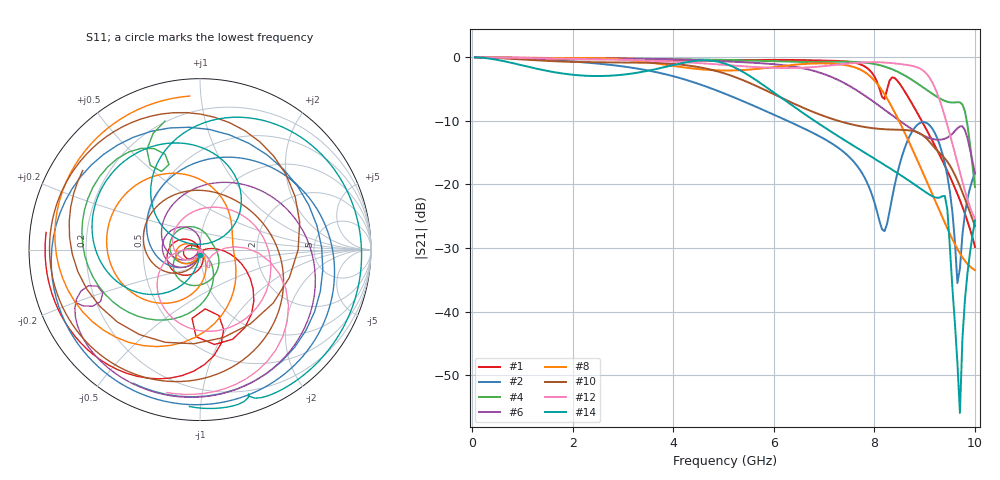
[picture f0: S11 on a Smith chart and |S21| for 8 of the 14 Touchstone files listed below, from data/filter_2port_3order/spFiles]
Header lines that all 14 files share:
! freq	dB(S11)	phase(S11)	dB(S12)	phase(S12)
!  dB(S21)	phase(S21)	dB(S22)	phase(S22)
!S-par simulation data
#  GHz  S  DB  R 50
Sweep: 50 MHz to 10 GHz
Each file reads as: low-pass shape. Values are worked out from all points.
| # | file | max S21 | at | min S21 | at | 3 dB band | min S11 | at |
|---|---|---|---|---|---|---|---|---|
| 1 | randomGDSSteppedImpFilter_Type=butter_order=3_pixelSize=18_sim=5238.s2p | 0.00 dB | 50 MHz | -29.8 dB | 10 GHz | 50 MHz-7.95 GHz | -53.3 dB | 2.7 GHz |
| 2 | randomGDSSteppedImpFilter_Type=butter_order=3_pixelSize=18_sim=5241.s2p | -0.01 dB | 50 MHz | -35.5 dB | 9.65 GHz | 50 MHz-4 GHz | -40.2 dB | 50 MHz |
| 3 | randomGDSSteppedImpFilter_Type=butter_order=3_pixelSize=18_sim=5242.s2p | -0.01 dB | 50 MHz | -25.6 dB | 10 GHz | 50 MHz-7.25 GHz | -35.4 dB | 3.55 GHz |
| 4 | randomGDSSteppedImpFilter_Type=butter_order=3_pixelSize=18_sim=5245.s2p | -0.01 dB | 50 MHz | -20.4 dB | 10 GHz | 50 MHz-8.6 GHz | -42.1 dB | 50 MHz |
| 5 | randomGDSSteppedImpFilter_Type=butter_order=3_pixelSize=18_sim=5247.s2p | -0.01 dB | 50 MHz | -38.8 dB | 8.55 GHz | 50 MHz-6.85 GHz | -36.5 dB | 4.3 GHz |
| 6 | randomGDSSteppedImpFilter_Type=butter_order=3_pixelSize=18_sim=5248.s2p | -0.01 dB | 50 MHz | -18.3 dB | 10 GHz | 50 MHz-7.1 GHz | -47.4 dB | 3.55 GHz |
| 7 | randomGDSSteppedImpFilter_Type=butter_order=3_pixelSize=18_sim=5249.s2p | -0.01 dB | 50 MHz | -18.3 dB | 10 GHz | 50 MHz-6.85 GHz | -54.4 dB | 3.8 GHz |
| 8 | randomGDSSteppedImpFilter_Type=butter_order=3_pixelSize=18_sim=5256.s2p | -0.01 dB | 50 MHz | -33.5 dB | 10 GHz | 50 MHz-7.9 GHz | -51.8 dB | 2.4 GHz |
| 9 | randomGDSSteppedImpFilter_Type=butter_order=3_pixelSize=18_sim=5262.s2p | -0.01 dB | 50 MHz | -37.8 dB | 10 GHz | 50 MHz-6.65 GHz | -43.5 dB | 2.6 GHz |
| 10 | randomGDSSteppedImpFilter_Type=butter_order=3_pixelSize=18_sim=5263.s2p | -0.01 dB | 50 MHz | -26.6 dB | 10 GHz | 50 MHz-5.15 GHz | -36.8 dB | 50 MHz |
| 11 | randomGDSSteppedImpFilter_Type=butter_order=3_pixelSize=18_sim=5267.s2p | 0.00 dB | 50 MHz | -28.5 dB | 8.55 GHz | 50 MHz-6.15 GHz | -36.4 dB | 4.9 GHz |
| 12 | randomGDSSteppedImpFilter_Type=butter_order=3_pixelSize=18_sim=5270.s2p | -0.02 dB | 50 MHz | -25.4 dB | 10 GHz | 50 MHz-9.05 GHz | -44.2 dB | 50 MHz |
| 13 | randomGDSSteppedImpFilter_Type=butter_order=3_pixelSize=18_sim=5271.s2p | -0.01 dB | 50 MHz | -30.3 dB | 10 GHz | 50 MHz-6.6 GHz | -44.9 dB | 4.85 GHz |
| 14 | randomGDSSteppedImpFilter_Type=butter_order=3_pixelSize=18_sim=5272.s2p | -0.01 dB | 50 MHz | -56.0 dB | 9.7 GHz | 50 MHz-5.5 GHz | -30.2 dB | 50 MHz |
